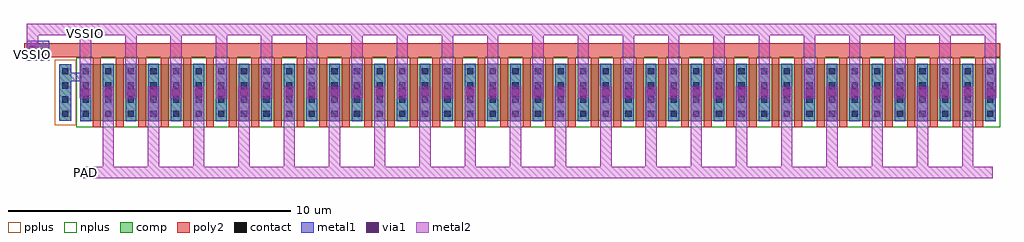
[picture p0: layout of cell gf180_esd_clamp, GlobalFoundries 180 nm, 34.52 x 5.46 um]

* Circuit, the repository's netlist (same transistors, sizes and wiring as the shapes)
* Extracted by KLayout with GF180MCU LVS runset on : 18/11/2026 00:09

* cell gf180_esd_clamp
.SUBCKT gf180_esd_clamp
* device instance $1 r0 *1 0.58,1 nfet_03v3
M$1 PAD VSSIO VSSIO VSSIO nfet_03v3 L=0.28U W=80U AS=21.16P AD=21.16P
+ PS=103.16U PD=103.16U
.ENDS gf180_esd_clamp

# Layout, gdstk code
import gdstk
lib = gdstk.Library(unit=1e-6, precision=1e-09)
def R(c, l, rs):  # rectangles x0, y0, x1, y1
    for r in rs: c.add(gdstk.rectangle(r[:2], r[2:], *l))
def A(c, l, x, y, w, h, nx, ny, dx, dy):  # array of equal rectangles
    R(c, l, [(x+i*dx, y+j*dy, x+i*dx+w, y+j*dy+h) for i in range(nx) for j in range(ny)])
comp = (22, 0)
poly2 = (30, 0)
pplus = (31, 0)
nplus = (32, 0)
contact = (33, 0)
metal1 = (34, 0)
via1 = (35, 0)
metal2 = (36, 0)

nfet = lib.new_cell('nfet')
R(nfet, comp, [(-0.76,0,-0.32,2), (0,0,32.36,2)])
A(nfet, poly2, 0.44, -0.22, 0.28, 2.44, 40, 1, 0.8, 0)
R(nfet, pplus, [(-0.92,-0.16,-0.16,2.16)])
R(nfet, nplus, [(-0.16,-0.23,32.52,2.23)])
A(nfet, contact, -0.65, 0.14, 0.22, 0.22, 1, 4, 0, 0.5)
A(nfet, contact, 0.07, 0.14, 0.22, 0.22, 41, 4, 0.8, 0.5)
A(nfet, metal1, -0.01, -0.01, 0.38, 2.02, 41, 1, 0.8, 0)
R(nfet, metal1, [(-0.76,0,-0.32,2)])

gf180_esd_clamp = lib.new_cell('gf180_esd_clamp')
A(gf180_esd_clamp, poly2, 0.44, 1.97, 0.28, 0.38, 40, 1, 0.8, 0)
R(gf180_esd_clamp, poly2, [(-2,2.25,32.52,2.75)])
R(gf180_esd_clamp, contact, [(-1.6,2.33,-1.38,2.55)])
R(gf180_esd_clamp, metal1, [(-0.76,1.4,0.37,1.7), (-1.9,2.13,-1.1,2.83)])
A(gf180_esd_clamp, via1, 0.05, 0.87, 0.26, 0.26, 41, 1, 0.8, 0)
R(gf180_esd_clamp, via1, [(-1.83,2.4,-1.57,2.66)])
A(gf180_esd_clamp, metal2, 0.78, -2.03, 0.4, 3.23, 20, 1, 1.6, 0)
A(gf180_esd_clamp, metal2, -0.02, 0.8, 0.4, 2.63, 21, 1, 1.6, 0)
R(gf180_esd_clamp, metal2, [(0.09,-2.03,32.27,-1.63), (-1.9,2.33,-1.5,3.43), (-1.9,3.03,32.27,3.43)])
gf180_esd_clamp.add(gdstk.Reference(nfet, (0,0)))
gf180_esd_clamp.add(gdstk.Label('VSSIO', (-1.7,2.33), layer=34, texttype=10))
gf180_esd_clamp.add(gdstk.Label('VSSIO', (0.19,3.08), layer=36, texttype=10))
gf180_esd_clamp.add(gdstk.Label('PAD', (0.19,-1.83), layer=36, texttype=10))

lib.write_gds('gf180_esd_clamp.gds')
